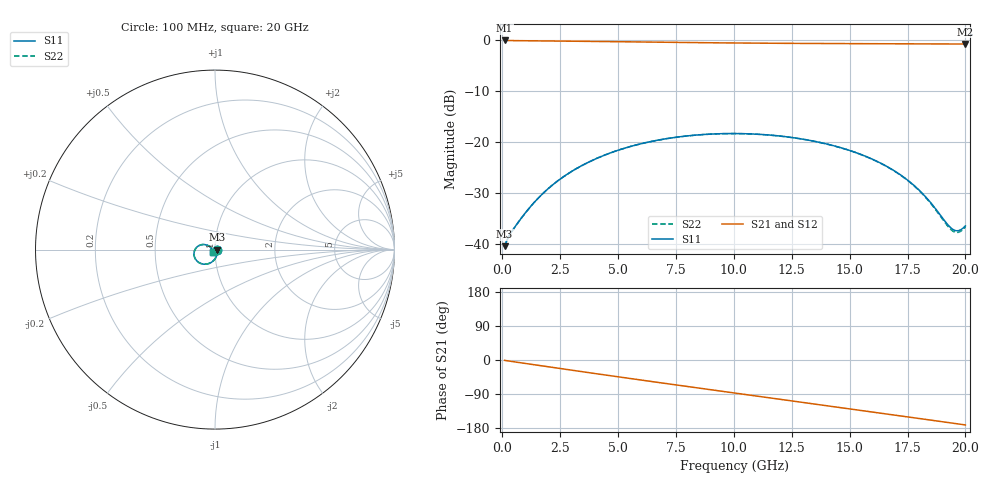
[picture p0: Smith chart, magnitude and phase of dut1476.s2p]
! Touchstone file exported from HFSS 2026.1.0
!  File:  C:/ffzhzh/LocalFiles/Ansys_Project_Files/temp_train_TSV_RDL_1476_1783362518_50076.aedt
!  Generated:  02:33:35 AM Jul  7, 2026
!  Design:  TSV_RDL
!  Project:  temp_train_TSV_RDL_1476_1783362518_50076
! Variables:
!  h_bsmrdl = 5.37um
!  h_ox = 20um
!  h_rdl = 5um
!  h_sub = 50.86um
!  h_tmrdl = 5.01um
!  h_tsv = 50.86um
!  h_via = 3um
!  l_bsmrdl = 495.37um
!  l_sub = 2918.97um
!  l_tmrdl = 226.94um
!  m_sub = 200um
!  pitch = 25.69um
!  r_tsv = 10.98um
!  s_tmrdl = 10um
!  w_bsmrdl = 18.83um
!  w_sub = 500um
!  w_tmrdl = 22.87um
!  x_tsv_center1 = 238.375um
!  x_tsv_center2 = 752.575um
!  x_tsv_center3 = 1002.385um
!  x_tsv_center4 = 1516.585um
!  x_tsv_center5 = 1766.395um
!  x_tsv_center6 = 2280.595um
# GHz S MA R 50.000000
! Terminal data exported
! Port[1] = TM_RDL1_1_T1
! Port[2] = TM_RDL5_1_T1
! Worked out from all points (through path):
!   200 points, 100 MHz to 20 GHz, reference 50 ohm
!   highest |S21| = -0.08 dB at 100 MHz (marker M1); lowest = -0.8 dB at 20 GHz (marker M2)
!   group delay of S21, straight-line fit = 23.6 ps
!   lowest |S11| = -40.3 dB at 100 MHz (marker M3), VSWR 1.02, Z = 51 + j0.0218 ohm
!   |S11| at or under -10 dB: start of sweep to end of sweep
!   |S22| runs from -40.3 to -18.3 dB; largest |S21 - S12| = 5.5e-13
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0.1  0.009624 1.3  0.9904 -1.0  0.9904 -1.0  0.009624 1.3
! Gamma 0 0 0 0
! Port Impedance 50 0 50 0
0.3  0.01219 -10.6  0.9879 -2.9  0.9879 -2.9  0.01219 -10.6
0.5  0.01437 -24.8  0.9864 -4.7  0.9864 -4.7  0.01436 -24.8
1  0.02042 -49.6  0.9843 -9.1  0.9843 -9.1  0.02041 -49.6
1.5  0.02762 -64.6  0.9822 -13.6  0.9822 -13.6  0.02761 -64.6
2.4  0.04197 -81.7  0.9778 -21.6  0.9778 -21.6  0.04196 -81.7
3.5  0.06018 -96.3  0.9714 -31.3  0.9714 -31.3  0.06016 -96.4
5  0.08352 -112.8  0.9622 -44.4  0.9622 -44.4  0.08348 -112.8
6.8  0.1057 -130.5  0.9514 -59.8  0.9514 -59.8  0.1056 -130.6
8.5  0.1182 -146.2  0.9423 -74.2  0.9423 -74.2  0.1181 -146.3
10.1  0.1216 -160.1  0.9352 -87.7  0.9352 -87.7  0.1215 -160.3
11.7  0.1168 -173.5  0.9295 -101.2  0.9295 -101.2  0.1166 -173.7
13.4  0.1031 173.1  0.9251 -115.4  0.9251 -115.4  0.1029 172.9
15.2  0.08029 160.3  0.9217 -130.6  0.9217 -130.6  0.08008 159.9
16  0.06801 155.4  0.9204 -137.4  0.9204 -137.4  0.06777 155.0
16.7  0.05646 152.0  0.9194 -143.3  0.9194 -143.3  0.05619 151.5
17.4  0.04443 150.1  0.9183 -149.2  0.9183 -149.2  0.04413 149.5
18  0.03403 150.9  0.9174 -154.3  0.9174 -154.3  0.03369 150.2
18.5  0.02566 155.2  0.9166 -158.6  0.9166 -158.6  0.02526 154.4
19.4  0.01435 -172.8  0.915 -166.3  0.915 -166.3  0.01382 -172.9
19.7  0.01364 -151.9  0.9144 -168.8  0.9144 -168.8  0.01315 -151.0
20  0.0152 -132.4  0.9138 -171.4  0.9138 -171.4  0.01482 -131.0
